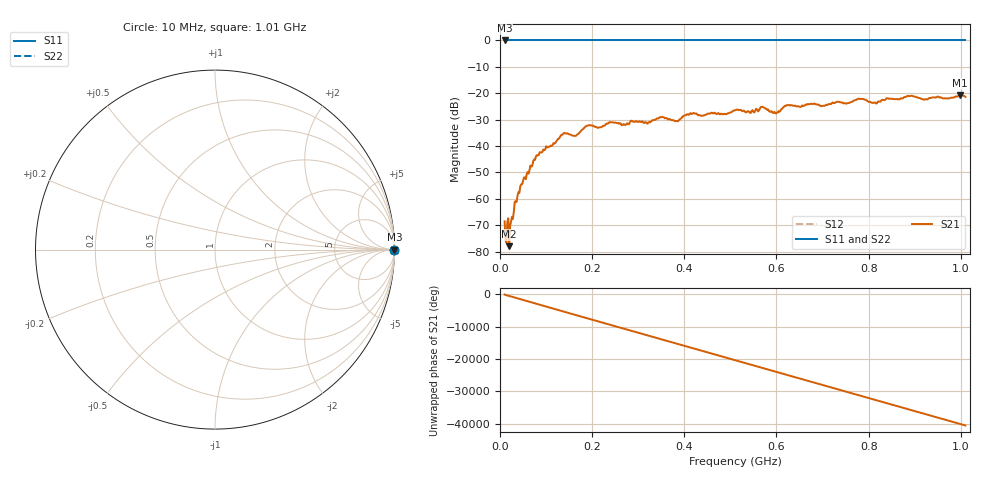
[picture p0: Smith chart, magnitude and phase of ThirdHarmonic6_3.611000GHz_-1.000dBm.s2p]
! 8/17/2025 12:03:54 PM
! C:\ANRITSUVNA\TEMP\TEMP.S2P
! CHANNEL.1
! TR.MEASUREMENT
! RAW.DATA
! RF.CORRECTION.OFF
! AVERAGING.OFF
! IF.BANDWIDTH: 5KHZ
! SWEEPTYPE:  FREQ.SWEEP(Linear)
! Reference Plane Port Info
! PORT:  PORT1  PORT2
! DISTANCE:  0  m  0  m
! TIME:  0  s  0  s
! PHASE.OFFSET:  0  deg.  0  deg.
! LOSS:  0  dB  0  dB
! REF.LOSS:  0  dB  0  dB
! REF.FREQ:  0  Hz  0  Hz
! Power Info
! POWER:  -20  dBm  -20  dBm
! EFF.POWER:  -20  dBm  -20  dBm
! SOURCE.ATTEN:  0  dB  0  dB
! TEST.ATTEN:  0  dB  0  dB
# GHZ S RI R 50.0
! FREQ.GHZ  S11RE  S11IM  S21RE  S21IM  S12RE  S12IM  S22RE  S22IM
!; PortSelection: Port_12
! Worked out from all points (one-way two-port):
!   501 points, 10 MHz to 1.01 GHz, reference 50 ohm
!   highest |S21| = -20.66 dB at 998 MHz (marker M1); lowest = -77.9 dB at 20 MHz (marker M2)
!   lowest |S11| = 0.0 dB at 10 MHz (marker M3)
!   |S11| at or under -10 dB: nowhere
!   |S22| runs from 0.0 to 0.0 dB; largest |S21 - S12| = 1.1
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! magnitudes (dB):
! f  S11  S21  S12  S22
! 10 MHz  0.0  -68.5  0.0  0.0
! 16 MHz  0.0  -68.8  0.0  0.0
! 20 MHz  0.0  -77.9  0.0  0.0
! 24 MHz  0.0  -68.5  0.0  0.0
! 36 MHz  0.0  -61.2  0.0  0.0
! 48 MHz  0.0  -54.4  0.0  0.0
! 76 MHz  0.0  -45.3  0.0  0.0
! 136 MHz  0.0  -35.7  0.0  0.0
! 162 MHz  0.0  -36.2  0.0  0.0
! 178 MHz  0.0  -33.8  0.0  0.0
! 192 MHz  0.0  -32.1  0.0  0.0
! 344 MHz  0.0  -29.6  0.0  0.0
! 384 MHz  0.0  -30.6  0.0  0.0
! 416 MHz  0.0  -27.9  0.0  0.0
! 510 MHz  0.0  -26.4  0.0  0.0
! 570 MHz  0.0  -25.2  0.0  0.0
! 598 MHz  0.0  -27.6  0.0  0.0
! 622 MHz  0.0  -24.5  0.0  0.0
! 678 MHz  0.0  -24.1  0.0  0.0
! 844 MHz  0.0  -22.1  0.0  0.0
! 998 MHz  0.0  -20.7  0.0  0.0
! 1.01 GHz  0.0  -21.4  0.0  0.0
